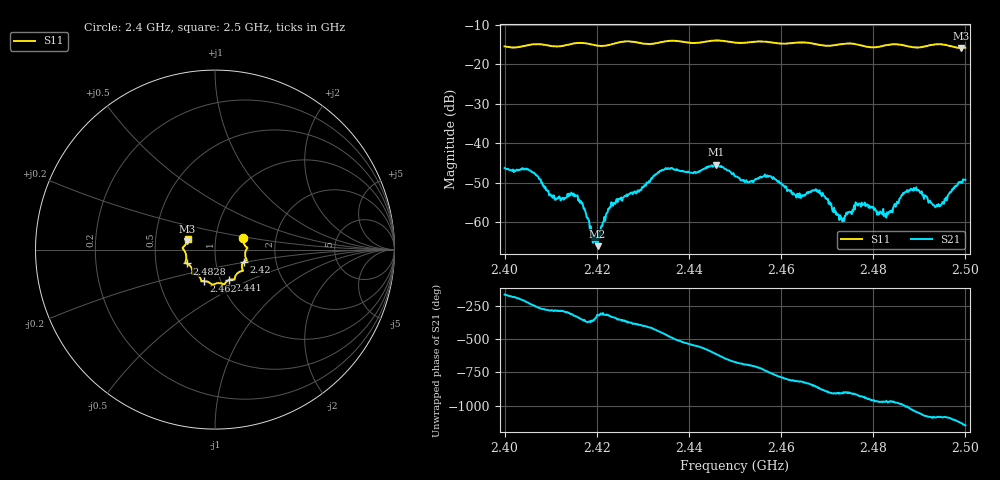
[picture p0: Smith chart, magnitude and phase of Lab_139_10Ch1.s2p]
# Hz S RI R 50
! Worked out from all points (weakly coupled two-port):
!   601 points, 2.4 GHz to 2.5 GHz, reference 50 ohm
!   highest |S21| = -45.38 dB at 2.4458 GHz (marker M1); lowest = -66.0 dB at 2.4202 GHz (marker M2)
!   lowest |S11| = -15.8 dB at 2.499 GHz (marker M3), VSWR 1.39, Z = 36.5 + j3.5 ohm
!   |S11| at or under -10 dB: start of sweep to end of sweep
!   S12 and S22 are empty: the file has one direction only
!   S11 on the Smith chart (normalised r, x): 2.4 GHz: 1.36, +0.18; 2.42 GHz: 1.36, -0.20; 2.441 GHz: 1.10, -0.39; 2.462 GHz: 0.84, -0.30; 2.4828 GHz: 0.72, -0.11; 2.5 GHz: 0.73, +0.09
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2.4e9  0.1574 0.0631  -0.00462 -0.00159  0 0  0 0
2.405167e9  0.1759 0.0138  -0.00338 0.0032  0 0  0 0
2.410667e9  0.1694 -0.0127  0.000618 0.00211  0 0  0 0
2.416667e9  0.1776 -0.0601  0.00171 0.00036  0 0  0 0
2.42e9  0.1595 -0.0696  0.000507 0.000385  0 0  0 0
2.420167e9  0.1582 -0.0707  0.000341 0.000367  0 0  0 0
2.423167e9  0.15 -0.0992  0.00155 0.000921  0 0  0 0
2.433333e9  0.1122 -0.151  0.000972 -0.00422  0 0  0 0
2.441e9  0.0784 -0.1697  -0.00419 0.000376  0 0  0 0
2.445833e9  0.051 -0.1948  -0.00177 0.00508  0 0  0 0
2.45e9  0.0284 -0.1872  0.00254 0.00287  0 0  0 0
2.4575e9  -0.0218 -0.1906  0.00335 -0.00194  0 0  0 0
2.462e9  -0.0606 -0.1756  0.000123 -0.00246  0 0  0 0
2.466667e9  -0.0779 -0.1682  -0.00139 -0.00211  0 0  0 0
2.473167e9  -0.1215 -0.1352  -0.0011 0.000135  0 0  0 0
2.476667e9  -0.1259 -0.1269  -0.00149 0.000659  0 0  0 0
2.482833e9  -0.1577 -0.0773  -0.000499 0.00104  0 0  0 0
2.483333e9  -0.1608 -0.076  -0.000376 0.00125  0 0  0 0
2.488833e9  -0.1602 -0.0389  0.00202 0.00186  0 0  0 0
2.494333e9  -0.1806 0.00909  0.0016 -0.000162  0 0  0 0
2.499e9  -0.1547 0.0467  0.00207 -0.00256  0 0  0 0
2.5e9  -0.1519 0.0612  0.00117 -0.00326  0 0  0 0
